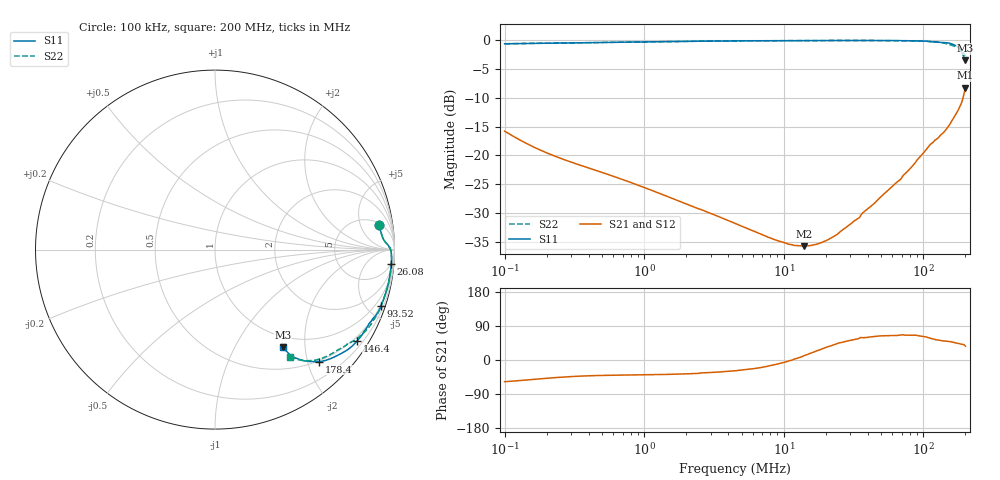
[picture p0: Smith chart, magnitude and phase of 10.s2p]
#  HZ  S  RI  R  50.00
! Rohde & Schwarz Vector Network Analyzer
! Rohde-Schwarz,ZNLE6-2Port,1323001256200024,1.71.1.10-23.02.1.238
! Created: UTC 4/7/2025, 8:55:03 AM
! freq[Hz]  re:S11  im:S11  re:S21  im:S21  re:S12  im:S12  re:S22  im:S22
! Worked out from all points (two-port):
!   1001 points, 100 kHz to 200 MHz, reference 50 ohm
!   highest |S21| = -8.28 dB at 200 MHz (marker M1); lowest = -35.7 dB at 13.99 MHz (marker M2)
!   |S21| within 3 dB of the highest: 184.5 MHz to end of sweep
!   lowest |S11| = -3.6 dB at 200 MHz (marker M3), VSWR 4.92, Z = 41.2 - j79.7 ohm
!   |S11| at or under -10 dB: nowhere
!   |S22| runs from -2.7 to -0.1 dB; largest |S21 - S12| = 0.012
!   S11 on the Smith chart (normalised r, x): 100 kHz: 6, +10; 26.08 MHz: 4, -24; 93.52 MHz: 0.43, -6.08; 146.4 MHz: 0.38, -3.38; 178.4 MHz: 0.48, -2.21; 200 MHz: 0.82, -1.59
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100000  0.9131 0.1356  0.0877 -0.1366  0.088 -0.1369  0.9129 0.1358
182297.8  0.9287 0.0832  0.0719 -0.0841  0.0721 -0.0843  0.9286 0.0834
355854.1  0.9401 0.054  0.0603 -0.0551  0.0605 -0.0552  0.9401 0.0541
1266322  0.9631 0.0262  0.0371 -0.0296  0.0372 -0.0296  0.963 0.0261
4472136  0.9772 0.00148  0.0228 -0.0123  0.0226 -0.0126  0.9781 0.00185
9563525  0.982 -0.0207  0.0178 -0.00267  0.0177 -0.00287  0.9826 -0.0221
1.17421e7  0.9831 -0.029  0.0167 0.000479  0.0168 -9.06e-05  0.9832 -0.0302
1.398523e7  0.9836 -0.0372  0.0161 0.00328  0.0163 0.00273  0.9836 -0.0387
1.591428e7  0.9835 -0.0442  0.0158 0.00546  0.0159 0.00525  0.9839 -0.0462
2.060734e7  0.9834 -0.0607  0.0153 0.0106  0.0156 0.0101  0.9837 -0.0629
2.608278e7  0.9822 -0.0794  0.0155 0.0164  0.0155 0.0162  0.9823 -0.0829
3.40322e7  0.9795 -0.1071  0.016 0.0237  0.0162 0.0234  0.9797 -0.1108
5.663162e7  0.9673 -0.1832  0.0218 0.0459  0.0231 0.0449  0.9661 -0.1885
6.796475e7  0.9575 -0.223  0.0254 0.0561  0.0283 0.055  0.9545 -0.2297
9.352484e7  0.9266 -0.3116  0.0428 0.0859  0.0458 0.0849  0.9214 -0.3243
1.21105e8  0.8626 -0.4079  0.079 0.1104  0.0812 0.1087  0.8612 -0.4275
1.464495e8  0.7938 -0.5072  0.11 0.1295  0.1114 0.1258  0.7703 -0.5099
1.641358e8  0.6998 -0.5806  0.1435 0.1529  0.1474 0.1457  0.6927 -0.5548
1.784492e8  0.5819 -0.6239  0.1805 0.1718  0.1855 0.1637  0.6064 -0.6016
1.867759e8  0.4942 -0.6193  0.2094 0.1877  0.2154 0.1792  0.532 -0.6187
1.940108e8  0.418 -0.5858  0.2472 0.2147  0.2545 0.2059  0.4635 -0.6131
2e8  0.3786 -0.5436  0.31 0.2295  0.3179 0.2202  0.4185 -0.6004
